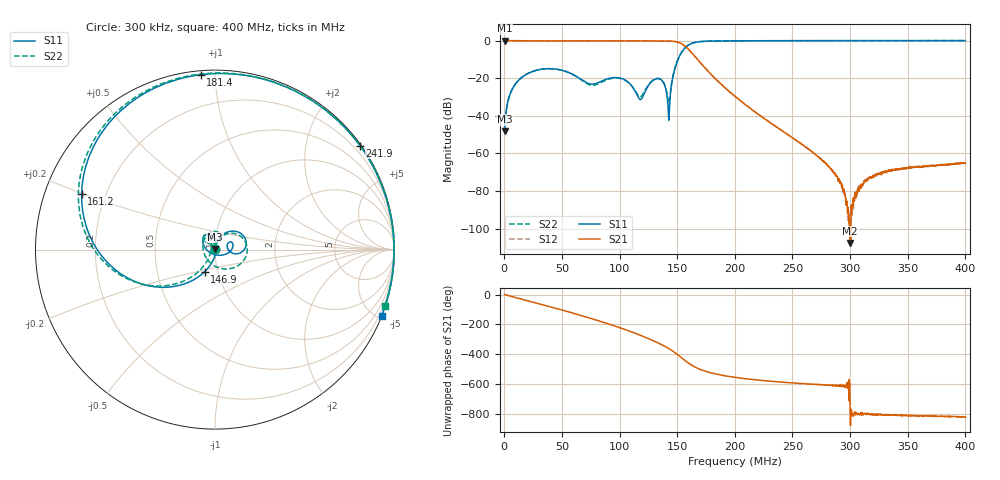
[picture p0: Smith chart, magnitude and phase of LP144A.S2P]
!Agilent Technologies,E5071B,MY42404018,A.06.50
!Date: Mon Sep 22 09:19:29 2008
!Data & Calibration Information:
!Freq	S11:SOLT2(ON)	S21:SOLT2(ON)	S12:SOLT2(ON)	S22:SOLT2(ON)
# Hz S dB R 50
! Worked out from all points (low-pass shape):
!   1601 points, 300 kHz to 400 MHz, reference 50 ohm
!   highest |S21| = 0.00 dB at 300 kHz (marker M1); lowest = -107.5 dB at 300.1 MHz (marker M2)
!   |S21| within 3 dB of the highest: start of sweep to 157 MHz
!   lowest |S11| = -48.2 dB at 300 kHz (marker M3), VSWR 1.01, Z = 50 + j0.389 ohm
!   |S11| at or under -10 dB: start of sweep to 150.7 MHz
!   |S22| runs from -46.4 to 0.0 dB; largest |S21 - S12| = 0.024
!   S11 on the Smith chart (normalised r, x): 300 kHz: 1.00, +0.01; 146.9 MHz: 0.87, -0.22; 161.2 MHz: 0.11, +0.20; 181.4 MHz: 0.02, +0.92; 241.9 MHz: 0.03, +3.11; 400 MHz: 0.01, -5.20
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300000  -48.18 92.6  -0.00 -0.2  -0.03 -0.9  -46.36 81.2
6295500  -26.61 74.6  -0.02 -13.1  -0.04 -13.1  -26.61 72.6
1.928575e7  -17.89 52.0  -0.11 -39.9  -0.10 -40.0  -17.85 45.2
4.401719e7  -15.09 8.9  -0.18 -90.9  -0.19 -90.9  -15.08 -12.9
6.699994e7  -20.71 -10.3  -0.11 -141.0  -0.12 -141.1  -20.96 -93.1
8.873362e7  -20.49 27.3  -0.13 167.2  -0.15 167.3  -20.89 121.8
1.099677e8  -23.61 -22.1  -0.15 111.2  -0.15 111.3  -23.63 63.3
1.182115e8  -31.32 -113.4  -0.15 86.8  -0.16 86.9  -29.87 104.5
1.336999e8  -20.20 120.1  -0.23 35.1  -0.24 35.1  -20.07 125.7
1.384463e8  -22.75 97.6  -0.24 16.8  -0.25 16.9  -22.55 115.6
1.424433e8  -39.67 38.6  -0.24 -0.4  -0.25 -0.3  -33.02 158.5
1.469399e8  -17.37 -115.0  -0.38 -22.7  -0.39 -22.7  -17.19 -125.9
1.539347e8  -6.13 -159.8  -1.69 -64.3  -1.71 -64.2  -6.11 -159.4
1.611792e8  -1.88 157.3  -5.50 -106.2  -5.52 -106.1  -1.88 160.7
1.699227e8  -0.54 122.1  -11.63 -140.8  -11.63 -140.7  -0.54 127.0
1.814141e8  -0.20 94.7  -19.23 -168.0  -19.23 -167.9  -0.20 100.3
2.0015e8  -0.10 68.3  -29.66 165.8  -29.67 165.8  -0.10 74.1
2.418687e8  -0.05 35.7  -48.26 133.1  -48.27 133.4  -0.06 41.0
2.668499e8  -0.04 22.6  -58.99 120.5  -59.00 120.4  -0.04 27.4
3.00075e8  -0.03 8.8  -107.54 -102.8  -107.88 9.8  -0.03 13.1
3.335499e8  -0.02 -2.7  -68.60 -85.4  -69.07 -83.8  -0.02 1.2
4e8  -0.01 -21.8  -65.14 -100.8  -64.97 -101.0  -0.01 -18.5
